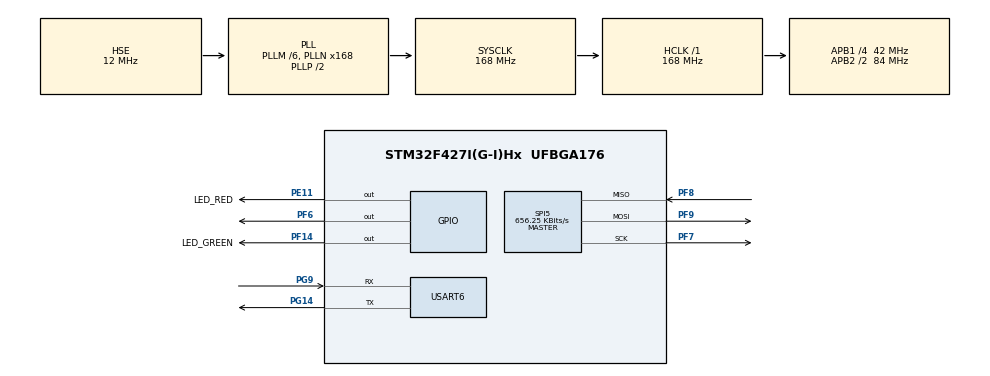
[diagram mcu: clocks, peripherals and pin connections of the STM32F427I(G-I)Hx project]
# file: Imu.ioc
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Mcu.Family=STM32F4
Mcu.Name=STM32F427I(G-I)Hx
Mcu.Package=UFBGA176
NVIC.PriorityGroup=NVIC_PRIORITYGROUP_4
NVIC.USART6_IRQn=true\:0\:0\:false\:false\:true\:true\:true\:true
PA13.Mode=Serial_Wire
PA13.Signal=SYS_JTMS-SWDIO
PA14.Mode=Serial_Wire
PA14.Signal=SYS_JTCK-SWCLK
PE11.GPIO_Label=LED_RED
PE11.Signal=GPIO_Output
PF14.GPIO_Label=LED_GREEN
PF14.Signal=GPIO_Output
PF6.Signal=GPIO_Output
PF7.Mode=Full_Duplex_Master
PF7.Signal=SPI5_SCK
PF8.Mode=Full_Duplex_Master
PF8.Signal=SPI5_MISO
PF9.Mode=Full_Duplex_Master
PF9.Signal=SPI5_MOSI
PG14.Mode=Asynchronous
PG14.Signal=USART6_TX
PG9.Mode=Asynchronous
PG9.Signal=USART6_RX
PH0/OSC_IN.Mode=HSE-External-Oscillator
PH0/OSC_IN.Signal=RCC_OSC_IN
PH1/OSC_OUT.Mode=HSE-External-Oscillator
PH1/OSC_OUT.Signal=RCC_OSC_OUT
ProjectManager.HeapSize=0x200
ProjectManager.StackSize=0x400
ProjectManager.TargetToolchain=STM32CubeIDE
RCC.48MHZClocksFreq_Value=84000000
RCC.AHBFreq_Value=168000000
RCC.APB1CLKDivider=RCC_HCLK_DIV4
RCC.APB1Freq_Value=42000000
RCC.APB1TimFreq_Value=84000000
RCC.APB2CLKDivider=RCC_HCLK_DIV2
RCC.APB2Freq_Value=84000000
RCC.APB2TimFreq_Value=168000000
RCC.CortexFreq_Value=168000000
RCC.HCLKFreq_Value=168000000
RCC.HSE_VALUE=12000000
RCC.HSI_VALUE=16000000
RCC.LSE_VALUE=32768
RCC.PLLM=6
RCC.PLLN=168
RCC.PLLSourceVirtual=RCC_PLLSOURCE_HSE
RCC.SYSCLKFreq_VALUE=168000000
RCC.SYSCLKSource=RCC_SYSCLKSOURCE_PLLCLK
RCC.VCOOutputFreq_Value=336000000
SPI5.BaudRatePrescaler=SPI_BAUDRATEPRESCALER_128
SPI5.CalculateBaudRate=656.25 KBits/s
SPI5.Direction=SPI_DIRECTION_2LINES
SPI5.Mode=SPI_MODE_MASTER
SPI5.VirtualType=VM_MASTER
USART6.VirtualMode=VM_ASYNC
board=Imu

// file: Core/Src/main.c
/* USER CODE BEGIN Header */
/**
 ******************************************************************************
 * @file           : main.c
 * @brief          : Main program body
 ******************************************************************************
 * @attention
 *
 * Copyright (c) 2023 STMicroelectronics.
 * All rights reserved.
 *
 * This software is licensed under terms that can be found in the LICENSE file
 * in the root directory of this software component.
 * If no LICENSE file comes with this software, it is provided AS-IS.
 *
 ******************************************************************************
 */
/* USER CODE END Header */
#include "../Inc/main.h"
#include "../Inc/spi.h"
#include "../Inc/usart.h"
#include "../Inc/gpio.h"

/* USER CODE BEGIN Includes */
#include "bsp_imu.h"
/* USER CODE END Includes */

void SystemClock_Config(void);

/* USER CODE BEGIN 0 */
extern UART_HandleTypeDef huart6;
extern imu_t imu;
char buf[300];
int count;
/* USER CODE END 0 */

int main(void)
{

  /* MCU Configuration--------------------------------------------------------*/

  /* Reset of all peripherals, Initializes the Flash interface and the Systick. */
  HAL_Init();

  /* Configure the system clock */
  SystemClock_Config();

  /* Initialize all configured peripherals */
  MX_GPIO_Init();
  MX_SPI5_Init();
  MX_USART6_UART_Init();
  /* USER CODE BEGIN 2 */
  led_off();
  mpu_device_init();
  init_quaternion();
  /* USER CODE END 2 */

  /* Infinite loop */
  while (1)
  {

    /* USER CODE BEGIN 3 */
    mpu_get_data();
    imu_ahrs_update();
    imu_attitude_update();
    HAL_Delay(5);
    sprintf(buf, " Roll: %8.3lf    Pitch: %8.3lf    Yaw: %8.3lf\n", imu.rol, imu.pit, imu.yaw);
    HAL_UART_Transmit(&huart6, (uint8_t *)buf, (COUNTOF(buf) - 1), 55);
    HAL_Delay(5);

    if (count == 50)
    {
      HAL_GPIO_TogglePin(LED_GREEN_GPIO_Port, LED_GREEN_Pin);
      count = 0;
    }
	  HAL_GPIO_WritePin(LED_GREEN_GPIO_Port, LED_GREEN_Pin, GPIO_PIN_SET);
	  HAL_Delay(1000);
	  HAL_GPIO_WritePin(LED_GREEN_GPIO_Port, LED_GREEN_Pin, GPIO_PIN_RESET);
	  HAL_Delay(1000);
  }
  /* USER CODE END 3 */
}

void SystemClock_Config(void)
{
  RCC_OscInitTypeDef RCC_OscInitStruct = {0};
  RCC_ClkInitTypeDef RCC_ClkInitStruct = {0};

  /** Configure the main internal regulator output voltage
   */
  __HAL_RCC_PWR_CLK_ENABLE();
  __HAL_PWR_VOLTAGESCALING_CONFIG(PWR_REGULATOR_VOLTAGE_SCALE1);

  /** Initializes the RCC Oscillators according to the specified parameters
   * in the RCC_OscInitTypeDef structure.
   */
  RCC_OscInitStruct.OscillatorType = RCC_OSCILLATORTYPE_HSE;
  RCC_OscInitStruct.HSEState = RCC_HSE_ON;
  RCC_OscInitStruct.PLL.PLLState = RCC_PLL_ON;
  RCC_OscInitStruct.PLL.PLLSource = RCC_PLLSOURCE_HSE;
  RCC_OscInitStruct.PLL.PLLM = 6;
  RCC_OscInitStruct.PLL.PLLN = 168;
  RCC_OscInitStruct.PLL.PLLP = RCC_PLLP_DIV2;
  RCC_OscInitStruct.PLL.PLLQ = 4;
  if (HAL_RCC_OscConfig(&RCC_OscInitStruct) != HAL_OK)
  {
    Error_Handler();
  }

  /** Initializes the CPU, AHB and APB buses clocks
   */
  RCC_ClkInitStruct.ClockType = RCC_CLOCKTYPE_HCLK | RCC_CLOCKTYPE_SYSCLK | RCC_CLOCKTYPE_PCLK1 | RCC_CLOCKTYPE_PCLK2;
  RCC_ClkInitStruct.SYSCLKSource = RCC_SYSCLKSOURCE_PLLCLK;
  RCC_ClkInitStruct.AHBCLKDivider = RCC_SYSCLK_DIV1;
  RCC_ClkInitStruct.APB1CLKDivider = RCC_HCLK_DIV4;
  RCC_ClkInitStruct.APB2CLKDivider = RCC_HCLK_DIV2;

  if (HAL_RCC_ClockConfig(&RCC_ClkInitStruct, FLASH_LATENCY_5) != HAL_OK)
  {
    Error_Handler();
  }
}

void Error_Handler(void)
{
  __disable_irq();
  while (1)
  {
  }
}
